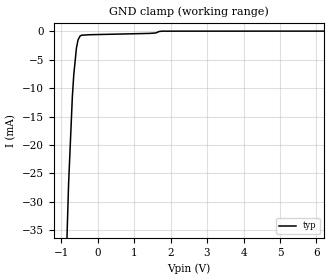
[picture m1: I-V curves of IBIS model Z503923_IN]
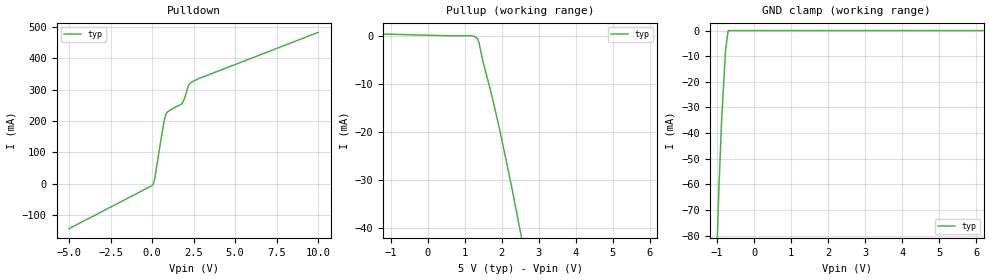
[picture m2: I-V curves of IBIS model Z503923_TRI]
| YOU ARE ONLY AUTHORIZED TO USE THIS SOFTWARE
| ACCORDING TO LICENSOR'S LICENSE RESTRICTIONS.
[IBIS Ver] 3.1
[File Name] mc54f244j.ibs
[File Rev] 2.0
[Source] Measured and created by ICX Technology
[Date] Friday 7/14/00 9:08:02 AM
[Copyright]
| (C) COPYRIGHT 1993-2000
| MENTOR GRAPHICS CORPORATION
| ICX STANDARD LIBRARY, ICX PROJECT MODELING,
| ICX CUSTOM MODELING, ICX VENDOR MODEL
| ALL RIGHTS RESERVED.
| THE FOLLOWING ARE TRADEMARKS OR SERVICE MARKS OF
| MENTOR GRAPHICS CORPORATION:ICX (R), ICX STANDARD
| LIBRARY(R), ICX PROJECT MODELING(R), ICX CUSTOM
| MODELING(R), qualityIBIS(TM), MODELVIEWER(TM),
| AND MODELEDITOR(TM)
| ALL COPIES OF SOFTWARE, INCLUDING BUT NOT LIMITED TO
| ANY MODIFICATIONS, ENHANCEMENTS OR DERIVATIVE WORKS,
| MUST CONTAIN ALL MENTOR GRAPHICS CORPORATION'S
| NOTICES AND LEGENDS, INCLUDING THOSE EMBEDDED IN
| SOFTWARE AND THOSE AFFIXED TO SOFTWARE MEDIUM
| AND CONTAINER, AS RECEIVED FROM MENTOR GRAPHICS
| CORPORATION.
|  ZAP Model Builder 2.7
[Component] MC54F244J
[Manufacturer] OnSemiconductor
[Package]
| variable   typ   min   max
R_pkg  .216ohms NA NA
L_pkg  5.76nH NA NA
C_pkg  2.193pF NA NA
[Pin] signal_name  model_name  R_pin  L_pin C_pin
1 _G Z503923_IN .232 9.76n 3.179p
2 A0 Z503923_IN .224 7.26n 2.686p
3 Y3 Z503923_TRI .216 5.26n 2.193p
4 A1 Z503923_IN .208 3.76n 1.7p
5 Y2 Z503923_TRI .2 2.76n 1.207p
6 A2 Z503923_IN .2 2.76n 1.207p
7 Y1 Z503923_TRI .208 3.76n 1.7p
8 A3 Z503923_IN .216 5.26n 2.193p
9 Y0 Z503923_TRI .224 7.26n 2.686p
10 GND GND .232 9.76n 3.179p
11 A0 Z503923_IN .232 9.76n 3.179p
12 Y3 Z503923_TRI .224 7.26n 2.686p
13 A1 Z503923_IN .216 5.26n 2.193p
14 Y2 Z503923_TRI .208 3.76n 1.7p
15 A2 Z503923_IN .2 2.76n 1.207p
16 Y1 Z503923_TRI .2 2.76n 1.207p
17 A3 Z503923_IN .208 3.76n 1.7p
18 Y0 Z503923_TRI .216 5.26n 2.193p
19 _G Z503923_IN .224 7.26n 2.686p
20 VCC POWER .232 9.76n 3.179p
| Models and submodels in the file (2): Z503923_IN (Input), Z503923_TRI (3-state)
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| (C) COPYRIGHT 1993-2000
| MENTOR GRAPHICS CORPORATION
| ICX STANDARD LIBRARY, ICX PROJECT MODELING,
| ICX CUSTOM MODELING, ICX VENDOR MODEL
| ALL RIGHTS RESERVED.
| THE FOLLOWING ARE TRADEMARKS OR SERVICE MARKS OF
| MENTOR GRAPHICS CORPORATION:ICX (R), ICX STANDARD
| LIBRARY(R), ICX PROJECT MODELING(R), ICX CUSTOM
| MODELING(R), qualityIBIS(TM), MODELVIEWER(TM),
| AND MODELEDITOR(TM)
| ALL COPIES OF SOFTWARE, INCLUDING BUT NOT LIMITED TO
| ANY MODIFICATIONS, ENHANCEMENTS OR DERIVATIVE WORKS,
| MUST CONTAIN ALL MENTOR GRAPHICS CORPORATION'S
| NOTICES AND LEGENDS, INCLUDING THOSE EMBEDDED IN
| SOFTWARE AND THOSE AFFIXED TO SOFTWARE MEDIUM
| AND CONTAINER, AS RECEIVED FROM MENTOR GRAPHICS
| CORPORATION.
| Model Application Version 1.89 2/18/99.
[Model] Z503923_IN
Model_type Input
Vinl = 800.0mV
Vinh = 2.000V
C_comp 4.000pF NA NA
| variable typ   min   max
[Voltage Range] 5.000V NA NA
[GND Clamp Reference] 0.000V NA NA
[POWER Clamp Reference] 5.000V NA NA
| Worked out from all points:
|   GND clamp passes 1 mA (typ) near -0.49 V on its own axis
[GND Clamp]
-5V       -930.1mA   NA         NA
-795.4mV  -26.88mA   NA         NA
-692.1mV  -11.53mA   NA         NA
-652.9mV  -7.64mA    NA         NA
-580.1mV  -2.963mA   NA         NA
-535.8mV  -1.53mA    NA         NA
-478.5mV  -841.4uA   NA         NA
-440.1mV  -713.8uA   NA         NA
1.411V    -395.8uA   NA         NA
1.592V    -320.7uA   NA         NA
1.763V    261.1nA    NA         NA
10V       13.9uA     NA         NA
[POWER Clamp]
-5V       0A         NA         NA
10V       0A         NA         NA
| (C) COPYRIGHT 1993-2000
| MENTOR GRAPHICS CORPORATION
| ICX STANDARD LIBRARY, ICX PROJECT MODELING,
| ICX CUSTOM MODELING, ICX VENDOR MODEL
| ALL RIGHTS RESERVED.
| THE FOLLOWING ARE TRADEMARKS OR SERVICE MARKS OF
| MENTOR GRAPHICS CORPORATION:ICX (R), ICX STANDARD
| LIBRARY(R), ICX PROJECT MODELING(R), ICX CUSTOM
| MODELING(R), qualityIBIS(TM), MODELVIEWER(TM),
| AND MODELEDITOR(TM)
| ALL COPIES OF SOFTWARE, INCLUDING BUT NOT LIMITED TO
| ANY MODIFICATIONS, ENHANCEMENTS OR DERIVATIVE WORKS,
| MUST CONTAIN ALL MENTOR GRAPHICS CORPORATION'S
| NOTICES AND LEGENDS, INCLUDING THOSE EMBEDDED IN
| SOFTWARE AND THOSE AFFIXED TO SOFTWARE MEDIUM
| AND CONTAINER, AS RECEIVED FROM MENTOR GRAPHICS
| CORPORATION.
| Model Application Version 1.89 2/18/99.
[Model] Z503923_TRI
Model_type 3-state
Vref=0.000V
Rref=500.0ohms
Cref=50.00pF
Vmeas=1.500V
C_comp 8.000pF NA NA
| variable typ   min   max
[Voltage Range] 5.000V NA NA
[POWER Clamp Reference] 5.000V NA NA
[Pullup Reference] 5.000V NA NA
[Pulldown Reference] 0.000V NA NA
[GND Clamp Reference] 0.000V NA NA
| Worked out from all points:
|   slope of the pulldown table from 0 to 0.75 V, typ, clamps not added: 3.56 ohm
|   slope of the pullup table from 0 to 0.75 V, typ, clamps not added: 6.93 kohm
|   GND clamp passes 1 mA (typ) near -0.71 V on its own axis
[GND Clamp]
-5V       -1.881A    NA         NA
-947.2mV  -60mA      NA         NA
-878.4mV  -35.2mA    NA         NA
-771.2mV  -7.709mA   NA         NA
-701.1mV  0A         NA         NA
10V       0A         NA         NA
[Pulldown]
-5V       -142.5mA   NA         NA
53.48mV   -2.937mA   NA         NA
141.4mV   10.89mA    NA         NA
683.6mV   187.8mA    NA         NA
762.6mV   208.4mA    NA         NA
845.1mV   222.6mA    NA         NA
1.016V    232.3mA    NA         NA
1.826V    257.1mA    NA         NA
1.953V    271.6mA    NA         NA
2.168V    308.9mA    NA         NA
2.334V    322mA      NA         NA
10V       482.3mA    NA         NA
[Pullup]
-5V       1.199mA    NA         NA
535mV     79.74uA    NA         NA
1.163V    79.74uA    NA         NA
1.26V     -34.98uA   NA         NA
1.343V    -462.7uA   NA         NA
1.382V    -1.154mA   NA         NA
1.494V    -5.204mA   NA         NA
1.729V    -12.21mA   NA         NA
1.941V    -19.3mA    NA         NA
2.265V    -31.24mA   NA         NA
10V       -338.4mA   NA         NA
[POWER Clamp]
-5V       0A         NA         NA
10V       0A         NA         NA
[Ramp]
| variable typ min max
dV/dt_r 2.027/1.709n NA NA
dV/dt_f 2.027/820.0p NA NA
R_load = 500.0Ohms
